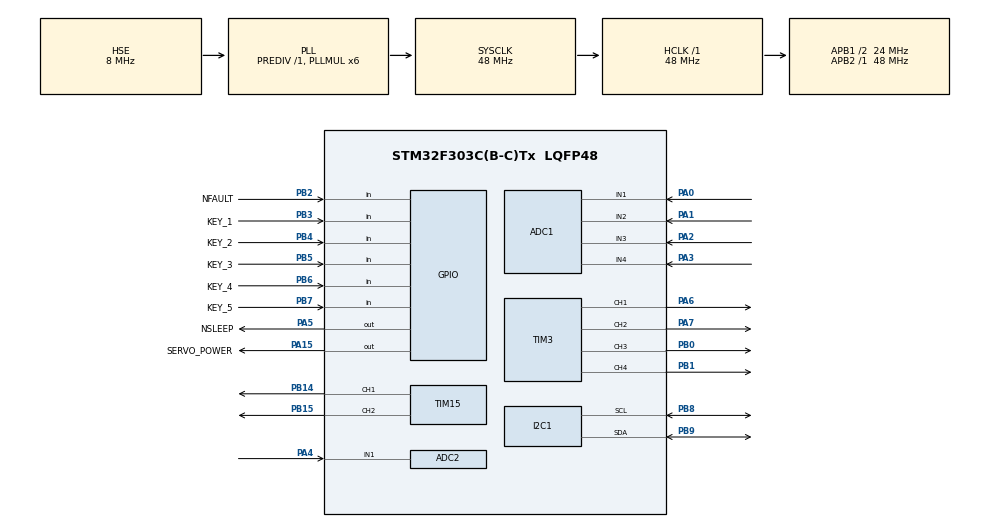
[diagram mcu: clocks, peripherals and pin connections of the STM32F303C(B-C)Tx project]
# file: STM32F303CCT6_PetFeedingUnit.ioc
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ADC1.Channel-0\#ChannelRegularConversion=ADC_CHANNEL_1
ADC1.NbrOfConversionFlag=1
ADC1.Offset-0\#ChannelRegularConversion=0
ADC1.OffsetNumber-0\#ChannelRegularConversion=ADC_OFFSET_NONE
ADC1.Rank-0\#ChannelRegularConversion=1
ADC1.SamplingTime-0\#ChannelRegularConversion=ADC_SAMPLETIME_1CYCLE_5
ADC1.master=1
ADC2.Channel-0\#ChannelRegularConversion=ADC_CHANNEL_1
ADC2.NbrOfConversionFlag=1
ADC2.Offset-0\#ChannelRegularConversion=0
ADC2.OffsetNumber-0\#ChannelRegularConversion=ADC_OFFSET_NONE
ADC2.Rank-0\#ChannelRegularConversion=1
ADC2.SamplingTime-0\#ChannelRegularConversion=ADC_SAMPLETIME_1CYCLE_5
Dma.ADC1.0.Direction=DMA_PERIPH_TO_MEMORY
Dma.ADC1.0.Instance=DMA1_Channel1
Dma.ADC1.0.MemDataAlignment=DMA_MDATAALIGN_HALFWORD
Dma.ADC1.0.MemInc=DMA_MINC_ENABLE
Dma.ADC1.0.Mode=DMA_NORMAL
Dma.ADC1.0.PeriphDataAlignment=DMA_PDATAALIGN_HALFWORD
Dma.ADC1.0.PeriphInc=DMA_PINC_DISABLE
Dma.ADC1.0.Priority=DMA_PRIORITY_LOW
Dma.Request0=ADC1
Mcu.Family=STM32F3
Mcu.Name=STM32F303C(B-C)Tx
Mcu.Package=LQFP48
NVIC.DMA1_Channel1_IRQn=true\:0\:0\:false\:false\:true\:false\:true
NVIC.PriorityGroup=NVIC_PRIORITYGROUP_4
PA0.Mode=IN1-Single-Ended
PA0.Signal=ADC1_IN1
PA1.Mode=IN2-Single-Ended
PA1.Signal=ADC1_IN2
PA15.GPIO_Label=SERVO_POWER
PA15.Signal=GPIO_Output
PA2.Mode=IN3-Single-Ended
PA2.Signal=ADC1_IN3
PA3.Mode=IN4-Single-Ended
PA3.Signal=ADC1_IN4
PA4.Mode=IN1-Single-Ended
PA4.Signal=ADC2_IN1
PA5.GPIO_Label=NSLEEP
PA5.Signal=GPIO_Output
PA6.Signal=S_TIM3_CH1
PA7.Signal=S_TIM3_CH2
PB0.Signal=S_TIM3_CH3
PB1.Signal=S_TIM3_CH4
PB14.Signal=S_TIM15_CH1
PB15.Signal=S_TIM15_CH2
PB2.GPIO_Label=NFAULT
PB2.Signal=GPIO_Input
PB3.GPIO_Label=KEY_1
PB3.Signal=GPIO_Input
PB4.GPIO_Label=KEY_2
PB4.Signal=GPIO_Input
PB5.GPIO_Label=KEY_3
PB5.Signal=GPIO_Input
PB6.GPIO_Label=KEY_4
PB6.Signal=GPIO_Input
PB7.GPIO_Label=KEY_5
PB7.Signal=GPIO_Input
PB8.Mode=I2C
PB8.Signal=I2C1_SCL
PB9.Mode=I2C
PB9.Signal=I2C1_SDA
PC14-OSC32_IN.Mode=LSE-External-Oscillator
PC14-OSC32_IN.Signal=RCC_OSC32_IN
PC15-OSC32_OUT.Mode=LSE-External-Oscillator
PC15-OSC32_OUT.Signal=RCC_OSC32_OUT
PF0-OSC_IN.Mode=HSE-External-Oscillator
PF0-OSC_IN.Signal=RCC_OSC_IN
PF1-OSC_OUT.Mode=HSE-External-Oscillator
PF1-OSC_OUT.Signal=RCC_OSC_OUT
ProjectManager.HeapSize=0x200
ProjectManager.StackSize=0x400
ProjectManager.TargetToolchain=STM32CubeIDE
RCC.AHBFreq_Value=48000000
RCC.APB1CLKDivider=RCC_HCLK_DIV2
RCC.APB1Freq_Value=24000000
RCC.APB1TimFreq_Value=48000000
RCC.APB2Freq_Value=48000000
RCC.APB2TimFreq_Value=48000000
RCC.CortexFreq_Value=48000000
RCC.HCLKFreq_Value=48000000
RCC.HSE_VALUE=8000000
RCC.HSI_VALUE=8000000
RCC.PLLMUL=RCC_PLL_MUL6
RCC.PLLSourceVirtual=RCC_PLLSOURCE_HSE
RCC.RTCClockSelection=RCC_RTCCLKSOURCE_LSE
RCC.SYSCLKFreq_VALUE=48000000
RCC.SYSCLKSourceVirtual=RCC_SYSCLKSOURCE_PLLCLK
RCC.USBFreq_Value=48000000
SH.S_TIM15_CH1.0=TIM15_CH1,PWM Generation1 CH1
SH.S_TIM15_CH2.0=TIM15_CH2,PWM Generation2 CH2
SH.S_TIM3_CH1.0=TIM3_CH1,PWM Generation1 CH1
SH.S_TIM3_CH2.0=TIM3_CH2,PWM Generation2 CH2
SH.S_TIM3_CH3.0=TIM3_CH3,PWM Generation3 CH3
SH.S_TIM3_CH4.0=TIM3_CH4,PWM Generation4 CH4
TIM15.Channel-PWM\ Generation1\ CH1=TIM_CHANNEL_1
TIM15.Channel-PWM\ Generation2\ CH2=TIM_CHANNEL_2
TIM3.Channel-PWM\ Generation1\ CH1=TIM_CHANNEL_1
TIM3.Channel-PWM\ Generation2\ CH2=TIM_CHANNEL_2
TIM3.Channel-PWM\ Generation3\ CH3=TIM_CHANNEL_3
TIM3.Channel-PWM\ Generation4\ CH4=TIM_CHANNEL_4
VP_RTC_VS_RTC_Activate.Mode=RTC_Enabled
VP_RTC_VS_RTC_Calendar.Mode=RTC_Calendar
VP_RTC_VS_RTC_WakeUp_intern.Mode=WakeUp
board=custom

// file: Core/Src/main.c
/* USER CODE BEGIN Header */
/**
  ******************************************************************************
  * @file           : main.c
  * @brief          : Main program body
  ******************************************************************************
  * @attention
  *
  * <h2><center>&copy; Copyright (c) 2019 STMicroelectronics.
  * All rights reserved.</center></h2>
  *
  * This software component is licensed by ST under BSD 3-Clause license,
  * the "License"; You may not use this file except in compliance with the
  * License. You may obtain a copy of the License at:
  *                        opensource.org/licenses/BSD-3-Clause
  *
  ******************************************************************************
  */
/* USER CODE END Header */

#include "main.h"

/* USER CODE BEGIN Includes */
#include "include_Ap.h"
/* USER CODE END Includes */

ADC_HandleTypeDef hadc1;
ADC_HandleTypeDef hadc2;
DMA_HandleTypeDef hdma_adc1;

I2C_HandleTypeDef hi2c1;

RTC_HandleTypeDef hrtc;

TIM_HandleTypeDef htim3;
TIM_HandleTypeDef htim15;

void SystemClock_Config(void);
static void MX_GPIO_Init(void);
static void MX_DMA_Init(void);
static void MX_ADC1_Init(void);
static void MX_ADC2_Init(void);
static void MX_I2C1_Init(void);
static void MX_RTC_Init(void);
static void MX_TIM3_Init(void);
static void MX_TIM15_Init(void);

/* USER CODE BEGIN 0 */
uint16_t deger[4];
uint16_t servoDeger;

/* USER CODE END 0 */

int main(void)
{
  /* USER CODE BEGIN 1 */
//Degisikligin gituba yansimasi
  /* USER CODE END 1 */

  /* MCU Configuration--------------------------------------------------------*/

  /* Reset of all peripherals, Initializes the Flash interface and the Systick. */
  HAL_Init();

  /* Configure the system clock */
  SystemClock_Config();

  /* Initialize all configured peripherals */
  MX_GPIO_Init();
  MX_DMA_Init();
  MX_ADC1_Init();
  MX_ADC2_Init();
  MX_I2C1_Init();
  MX_RTC_Init();
  MX_TIM3_Init();
  MX_TIM15_Init();
  /* USER CODE BEGIN 2 */
  OLED_Init();
   Build_Menu();
   displaySelectKey=GIRIS_EKRANI;
   kayitOnayDurum=false;

   HAL_TIM_PWM_Start(&htim3,TIM_CHANNEL_3);

   char keyYer[4];

  /* USER CODE END 2 */

  /* Infinite loop */
  /* USER CODE BEGIN WHILE */
  while (1)
  {
	  displaySelect();
	  pilGoster();
	  OLED_SetCursor(0, 0);
	  sprintf(keyYer, "%3d", deger[1]);
	  OLED_WriteString(keyYer, Font_7x10, White);
	  OLED_UpdateScreen();
	  ADC_DMA_degerOkuma();
	  alarmDeneme(T1DEGER);

    /* USER CODE END WHILE */

  }
}

void SystemClock_Config(void)
{
  RCC_OscInitTypeDef RCC_OscInitStruct = {0};
  RCC_ClkInitTypeDef RCC_ClkInitStruct = {0};
  RCC_PeriphCLKInitTypeDef PeriphClkInit = {0};

  /** Configure LSE Drive Capability
  */
  HAL_PWR_EnableBkUpAccess();
  __HAL_RCC_LSEDRIVE_CONFIG(RCC_LSEDRIVE_LOW);
  /** Initializes the CPU, AHB and APB busses clocks
  */
  RCC_OscInitStruct.OscillatorType = RCC_OSCILLATORTYPE_HSI|RCC_OSCILLATORTYPE_HSE
                              |RCC_OSCILLATORTYPE_LSE;
  RCC_OscInitStruct.HSEState = RCC_HSE_ON;
  RCC_OscInitStruct.HSEPredivValue = RCC_HSE_PREDIV_DIV1;
  RCC_OscInitStruct.LSEState = RCC_LSE_ON;
  RCC_OscInitStruct.HSIState = RCC_HSI_ON;
  RCC_OscInitStruct.HSICalibrationValue = RCC_HSICALIBRATION_DEFAULT;
  RCC_OscInitStruct.PLL.PLLState = RCC_PLL_ON;
  RCC_OscInitStruct.PLL.PLLSource = RCC_PLLSOURCE_HSE;
  RCC_OscInitStruct.PLL.PLLMUL = RCC_PLL_MUL6;
  if (HAL_RCC_OscConfig(&RCC_OscInitStruct) != HAL_OK)
  {
    Error_Handler();
  }
  /** Initializes the CPU, AHB and APB busses clocks
  */
  RCC_ClkInitStruct.ClockType = RCC_CLOCKTYPE_HCLK|RCC_CLOCKTYPE_SYSCLK
                              |RCC_CLOCKTYPE_PCLK1|RCC_CLOCKTYPE_PCLK2;
  RCC_ClkInitStruct.SYSCLKSource = RCC_SYSCLKSOURCE_PLLCLK;
  RCC_ClkInitStruct.AHBCLKDivider = RCC_SYSCLK_DIV1;
  RCC_ClkInitStruct.APB1CLKDivider = RCC_HCLK_DIV2;
  RCC_ClkInitStruct.APB2CLKDivider = RCC_HCLK_DIV1;

  if (HAL_RCC_ClockConfig(&RCC_ClkInitStruct, FLASH_LATENCY_1) != HAL_OK)
  {
    Error_Handler();
  }
  PeriphClkInit.PeriphClockSelection = RCC_PERIPHCLK_I2C1|RCC_PERIPHCLK_RTC
                              |RCC_PERIPHCLK_ADC12;
  PeriphClkInit.Adc12ClockSelection = RCC_ADC12PLLCLK_DIV1;
  PeriphClkInit.I2c1ClockSelection = RCC_I2C1CLKSOURCE_HSI;
  PeriphClkInit.RTCClockSelection = RCC_RTCCLKSOURCE_LSE;
  if (HAL_RCCEx_PeriphCLKConfig(&PeriphClkInit) != HAL_OK)
  {
    Error_Handler();
  }
}

static void MX_ADC1_Init(void)
{

  ADC_MultiModeTypeDef multimode = {0};
  ADC_ChannelConfTypeDef sConfig = {0};

  /** Common config
  */
  hadc1.Instance = ADC1;
  hadc1.Init.ClockPrescaler = ADC_CLOCK_ASYNC_DIV1;
  hadc1.Init.Resolution = ADC_RESOLUTION_12B;
  hadc1.Init.ScanConvMode = ADC_SCAN_DISABLE;
  hadc1.Init.ContinuousConvMode = DISABLE;
  hadc1.Init.DiscontinuousConvMode = DISABLE;
  hadc1.Init.ExternalTrigConvEdge = ADC_EXTERNALTRIGCONVEDGE_NONE;
  hadc1.Init.ExternalTrigConv = ADC_SOFTWARE_START;
  hadc1.Init.DataAlign = ADC_DATAALIGN_RIGHT;
  hadc1.Init.NbrOfConversion = 1;
  hadc1.Init.DMAContinuousRequests = DISABLE;
  hadc1.Init.EOCSelection = ADC_EOC_SINGLE_CONV;
  hadc1.Init.LowPowerAutoWait = DISABLE;
  hadc1.Init.Overrun = ADC_OVR_DATA_OVERWRITTEN;
  if (HAL_ADC_Init(&hadc1) != HAL_OK)
  {
    Error_Handler();
  }
  /** Configure the ADC multi-mode
  */
  multimode.Mode = ADC_MODE_INDEPENDENT;
  if (HAL_ADCEx_MultiModeConfigChannel(&hadc1, &multimode) != HAL_OK)
  {
    Error_Handler();
  }
  /** Configure Regular Channel
  */
  sConfig.Channel = ADC_CHANNEL_1;
  sConfig.Rank = ADC_REGULAR_RANK_1;
  sConfig.SingleDiff = ADC_SINGLE_ENDED;
  sConfig.SamplingTime = ADC_SAMPLETIME_1CYCLE_5;
  sConfig.OffsetNumber = ADC_OFFSET_NONE;
  sConfig.Offset = 0;
  if (HAL_ADC_ConfigChannel(&hadc1, &sConfig) != HAL_OK)
  {
    Error_Handler();
  }

}

static void MX_ADC2_Init(void)
{

  ADC_ChannelConfTypeDef sConfig = {0};

  /** Common config
  */
  hadc2.Instance = ADC2;
  hadc2.Init.ClockPrescaler = ADC_CLOCK_ASYNC_DIV1;
  hadc2.Init.Resolution = ADC_RESOLUTION_12B;
  hadc2.Init.ScanConvMode = ADC_SCAN_DISABLE;
  hadc2.Init.ContinuousConvMode = DISABLE;
  hadc2.Init.DiscontinuousConvMode = DISABLE;
  hadc2.Init.ExternalTrigConvEdge = ADC_EXTERNALTRIGCONVEDGE_NONE;
  hadc2.Init.ExternalTrigConv = ADC_SOFTWARE_START;
  hadc2.Init.DataAlign = ADC_DATAALIGN_RIGHT;
  hadc2.Init.NbrOfConversion = 1;
  hadc2.Init.DMAContinuousRequests = DISABLE;
  hadc2.Init.EOCSelection = ADC_EOC_SINGLE_CONV;
  hadc2.Init.LowPowerAutoWait = DISABLE;
  hadc2.Init.Overrun = ADC_OVR_DATA_OVERWRITTEN;
  if (HAL_ADC_Init(&hadc2) != HAL_OK)
  {
    Error_Handler();
  }
  /** Configure Regular Channel
  */
  sConfig.Channel = ADC_CHANNEL_1;
  sConfig.Rank = ADC_REGULAR_RANK_1;
  sConfig.SingleDiff = ADC_SINGLE_ENDED;
  sConfig.SamplingTime = ADC_SAMPLETIME_1CYCLE_5;
  sConfig.OffsetNumber = ADC_OFFSET_NONE;
  sConfig.Offset = 0;
  if (HAL_ADC_ConfigChannel(&hadc2, &sConfig) != HAL_OK)
  {
    Error_Handler();
  }

}

static void MX_I2C1_Init(void)
{

  hi2c1.Instance = I2C1;
  hi2c1.Init.Timing = 0x2000090E;
  hi2c1.Init.OwnAddress1 = 0;
  hi2c1.Init.AddressingMode = I2C_ADDRESSINGMODE_7BIT;
  hi2c1.Init.DualAddressMode = I2C_DUALADDRESS_DISABLE;
  hi2c1.Init.OwnAddress2 = 0;
  hi2c1.Init.OwnAddress2Masks = I2C_OA2_NOMASK;
  hi2c1.Init.GeneralCallMode = I2C_GENERALCALL_DISABLE;
  hi2c1.Init.NoStretchMode = I2C_NOSTRETCH_DISABLE;
  if (HAL_I2C_Init(&hi2c1) != HAL_OK)
  {
    Error_Handler();
  }
  /** Configure Analogue filter
  */
  if (HAL_I2CEx_ConfigAnalogFilter(&hi2c1, I2C_ANALOGFILTER_ENABLE) != HAL_OK)
  {
    Error_Handler();
  }
  /** Configure Digital filter
  */
  if (HAL_I2CEx_ConfigDigitalFilter(&hi2c1, 0) != HAL_OK)
  {
    Error_Handler();
  }

}

static void MX_RTC_Init(void)
{

  RTC_TimeTypeDef sTime = {0};
  RTC_DateTypeDef sDate = {0};

  /** Initialize RTC Only
  */
  hrtc.Instance = RTC;
  hrtc.Init.HourFormat = RTC_HOURFORMAT_24;
  hrtc.Init.AsynchPrediv = 127;
  hrtc.Init.SynchPrediv = 255;
  hrtc.Init.OutPut = RTC_OUTPUT_DISABLE;
  hrtc.Init.OutPutPolarity = RTC_OUTPUT_POLARITY_HIGH;
  hrtc.Init.OutPutType = RTC_OUTPUT_TYPE_OPENDRAIN;
  if (HAL_RTC_Init(&hrtc) != HAL_OK)
  {
    Error_Handler();
  }

  /** Initialize RTC and set the Time and Date
  */
  sTime.Hours = 0x0;
  sTime.Minutes = 0x0;
  sTime.Seconds = 0x0;
  sTime.DayLightSaving = RTC_DAYLIGHTSAVING_NONE;
  sTime.StoreOperation = RTC_STOREOPERATION_RESET;
  if (HAL_RTC_SetTime(&hrtc, &sTime, RTC_FORMAT_BCD) != HAL_OK)
  {
    Error_Handler();
  }
  sDate.WeekDay = RTC_WEEKDAY_MONDAY;
  sDate.Month = RTC_MONTH_JANUARY;
  sDate.Date = 0x1;
  sDate.Year = 0x0;

  if (HAL_RTC_SetDate(&hrtc, &sDate, RTC_FORMAT_BCD) != HAL_OK)
  {
    Error_Handler();
  }
  /** Enable the WakeUp
  */
  if (HAL_RTCEx_SetWakeUpTimer(&hrtc, 0, RTC_WAKEUPCLOCK_RTCCLK_DIV16) != HAL_OK)
  {
    Error_Handler();
  }

}

static void MX_TIM3_Init(void)
{

  TIM_MasterConfigTypeDef sMasterConfig = {0};
  TIM_OC_InitTypeDef sConfigOC = {0};

  htim3.Instance = TIM3;
  htim3.Init.Prescaler = 0;
  htim3.Init.CounterMode = TIM_COUNTERMODE_UP;
  htim3.Init.Period = 0;
  htim3.Init.ClockDivision = TIM_CLOCKDIVISION_DIV1;
  htim3.Init.AutoReloadPreload = TIM_AUTORELOAD_PRELOAD_DISABLE;
  if (HAL_TIM_PWM_Init(&htim3) != HAL_OK)
  {
    Error_Handler();
  }
  sMasterConfig.MasterOutputTrigger = TIM_TRGO_RESET;
  sMasterConfig.MasterSlaveMode = TIM_MASTERSLAVEMODE_DISABLE;
  if (HAL_TIMEx_MasterConfigSynchronization(&htim3, &sMasterConfig) != HAL_OK)
  {
    Error_Handler();
  }
  sConfigOC.OCMode = TIM_OCMODE_PWM1;
  sConfigOC.Pulse = 0;
  sConfigOC.OCPolarity = TIM_OCPOLARITY_HIGH;
  sConfigOC.OCFastMode = TIM_OCFAST_DISABLE;
  if (HAL_TIM_PWM_ConfigChannel(&htim3, &sConfigOC, TIM_CHANNEL_1) != HAL_OK)
  {
    Error_Handler();
  }
  if (HAL_TIM_PWM_ConfigChannel(&htim3, &sConfigOC, TIM_CHANNEL_2) != HAL_OK)
  {
    Error_Handler();
  }
  if (HAL_TIM_PWM_ConfigChannel(&htim3, &sConfigOC, TIM_CHANNEL_3) != HAL_OK)
  {
    Error_Handler();
  }
  if (HAL_TIM_PWM_ConfigChannel(&htim3, &sConfigOC, TIM_CHANNEL_4) != HAL_OK)
  {
    Error_Handler();
  }
  HAL_TIM_MspPostInit(&htim3);

}

static void MX_TIM15_Init(void)
{

  TIM_MasterConfigTypeDef sMasterConfig = {0};
  TIM_OC_InitTypeDef sConfigOC = {0};
  TIM_BreakDeadTimeConfigTypeDef sBreakDeadTimeConfig = {0};

  htim15.Instance = TIM15;
  htim15.Init.Prescaler = 0;
  htim15.Init.CounterMode = TIM_COUNTERMODE_UP;
  htim15.Init.Period = 0;
  htim15.Init.ClockDivision = TIM_CLOCKDIVISION_DIV1;
  htim15.Init.RepetitionCounter = 0;
  htim15.Init.AutoReloadPreload = TIM_AUTORELOAD_PRELOAD_DISABLE;
  if (HAL_TIM_PWM_Init(&htim15) != HAL_OK)
  {
    Error_Handler();
  }
  sMasterConfig.MasterOutputTrigger = TIM_TRGO_RESET;
  sMasterConfig.MasterSlaveMode = TIM_MASTERSLAVEMODE_DISABLE;
  if (HAL_TIMEx_MasterConfigSynchronization(&htim15, &sMasterConfig) != HAL_OK)
  {
    Error_Handler();
  }
  sConfigOC.OCMode = TIM_OCMODE_PWM1;
  sConfigOC.Pulse = 0;
  sConfigOC.OCPolarity = TIM_OCPOLARITY_HIGH;
  sConfigOC.OCNPolarity = TIM_OCNPOLARITY_HIGH;
  sConfigOC.OCFastMode = TIM_OCFAST_DISABLE;
  sConfigOC.OCIdleState = TIM_OCIDLESTATE_RESET;
  sConfigOC.OCNIdleState = TIM_OCNIDLESTATE_RESET;
  if (HAL_TIM_PWM_ConfigChannel(&htim15, &sConfigOC, TIM_CHANNEL_1) != HAL_OK)
  {
    Error_Handler();
  }
  if (HAL_TIM_PWM_ConfigChannel(&htim15, &sConfigOC, TIM_CHANNEL_2) != HAL_OK)
  {
    Error_Handler();
  }
  sBreakDeadTimeConfig.OffStateRunMode = TIM_OSSR_DISABLE;
  sBreakDeadTimeConfig.OffStateIDLEMode = TIM_OSSI_DISABLE;
  sBreakDeadTimeConfig.LockLevel = TIM_LOCKLEVEL_OFF;
  sBreakDeadTimeConfig.DeadTime = 0;
  sBreakDeadTimeConfig.BreakState = TIM_BREAK_DISABLE;
  sBreakDeadTimeConfig.BreakPolarity = TIM_BREAKPOLARITY_HIGH;
  sBreakDeadTimeConfig.BreakFilter = 0;
  sBreakDeadTimeConfig.AutomaticOutput = TIM_AUTOMATICOUTPUT_DISABLE;
  if (HAL_TIMEx_ConfigBreakDeadTime(&htim15, &sBreakDeadTimeConfig) != HAL_OK)
  {
    Error_Handler();
  }
  HAL_TIM_MspPostInit(&htim15);

}

static void MX_DMA_Init(void)
{

  /* DMA controller clock enable */
  __HAL_RCC_DMA1_CLK_ENABLE();

  /* DMA interrupt init */
  /* DMA1_Channel1_IRQn interrupt configuration */
  HAL_NVIC_SetPriority(DMA1_Channel1_IRQn, 0, 0);
  HAL_NVIC_EnableIRQ(DMA1_Channel1_IRQn);

}

static void MX_GPIO_Init(void)
{
  GPIO_InitTypeDef GPIO_InitStruct = {0};

  /* GPIO Ports Clock Enable */
  __HAL_RCC_GPIOC_CLK_ENABLE();
  __HAL_RCC_GPIOF_CLK_ENABLE();
  __HAL_RCC_GPIOA_CLK_ENABLE();
  __HAL_RCC_GPIOB_CLK_ENABLE();

  /*Configure GPIO pin Output Level */
  HAL_GPIO_WritePin(GPIOA, NSLEEP_Pin|SERVO_POWER_Pin, GPIO_PIN_RESET);

  /*Configure GPIO pins : NSLEEP_Pin SERVO_POWER_Pin */
  GPIO_InitStruct.Pin = NSLEEP_Pin|SERVO_POWER_Pin;
  GPIO_InitStruct.Mode = GPIO_MODE_OUTPUT_PP;
  GPIO_InitStruct.Pull = GPIO_NOPULL;
  GPIO_InitStruct.Speed = GPIO_SPEED_FREQ_LOW;
  HAL_GPIO_Init(GPIOA, &GPIO_InitStruct);

  /*Configure GPIO pins : NFAULT_Pin KEY_1_Pin KEY_2_Pin KEY_3_Pin
                           KEY_4_Pin KEY_5_Pin */
  GPIO_InitStruct.Pin = NFAULT_Pin|KEY_1_Pin|KEY_2_Pin|KEY_3_Pin
                          |KEY_4_Pin|KEY_5_Pin;
  GPIO_InitStruct.Mode = GPIO_MODE_INPUT;
  GPIO_InitStruct.Pull = GPIO_NOPULL;
  HAL_GPIO_Init(GPIOB, &GPIO_InitStruct);

}

void Error_Handler(void)
{
}

/************************ (C) COPYRIGHT STMicroelectronics *****END OF FILE****/
